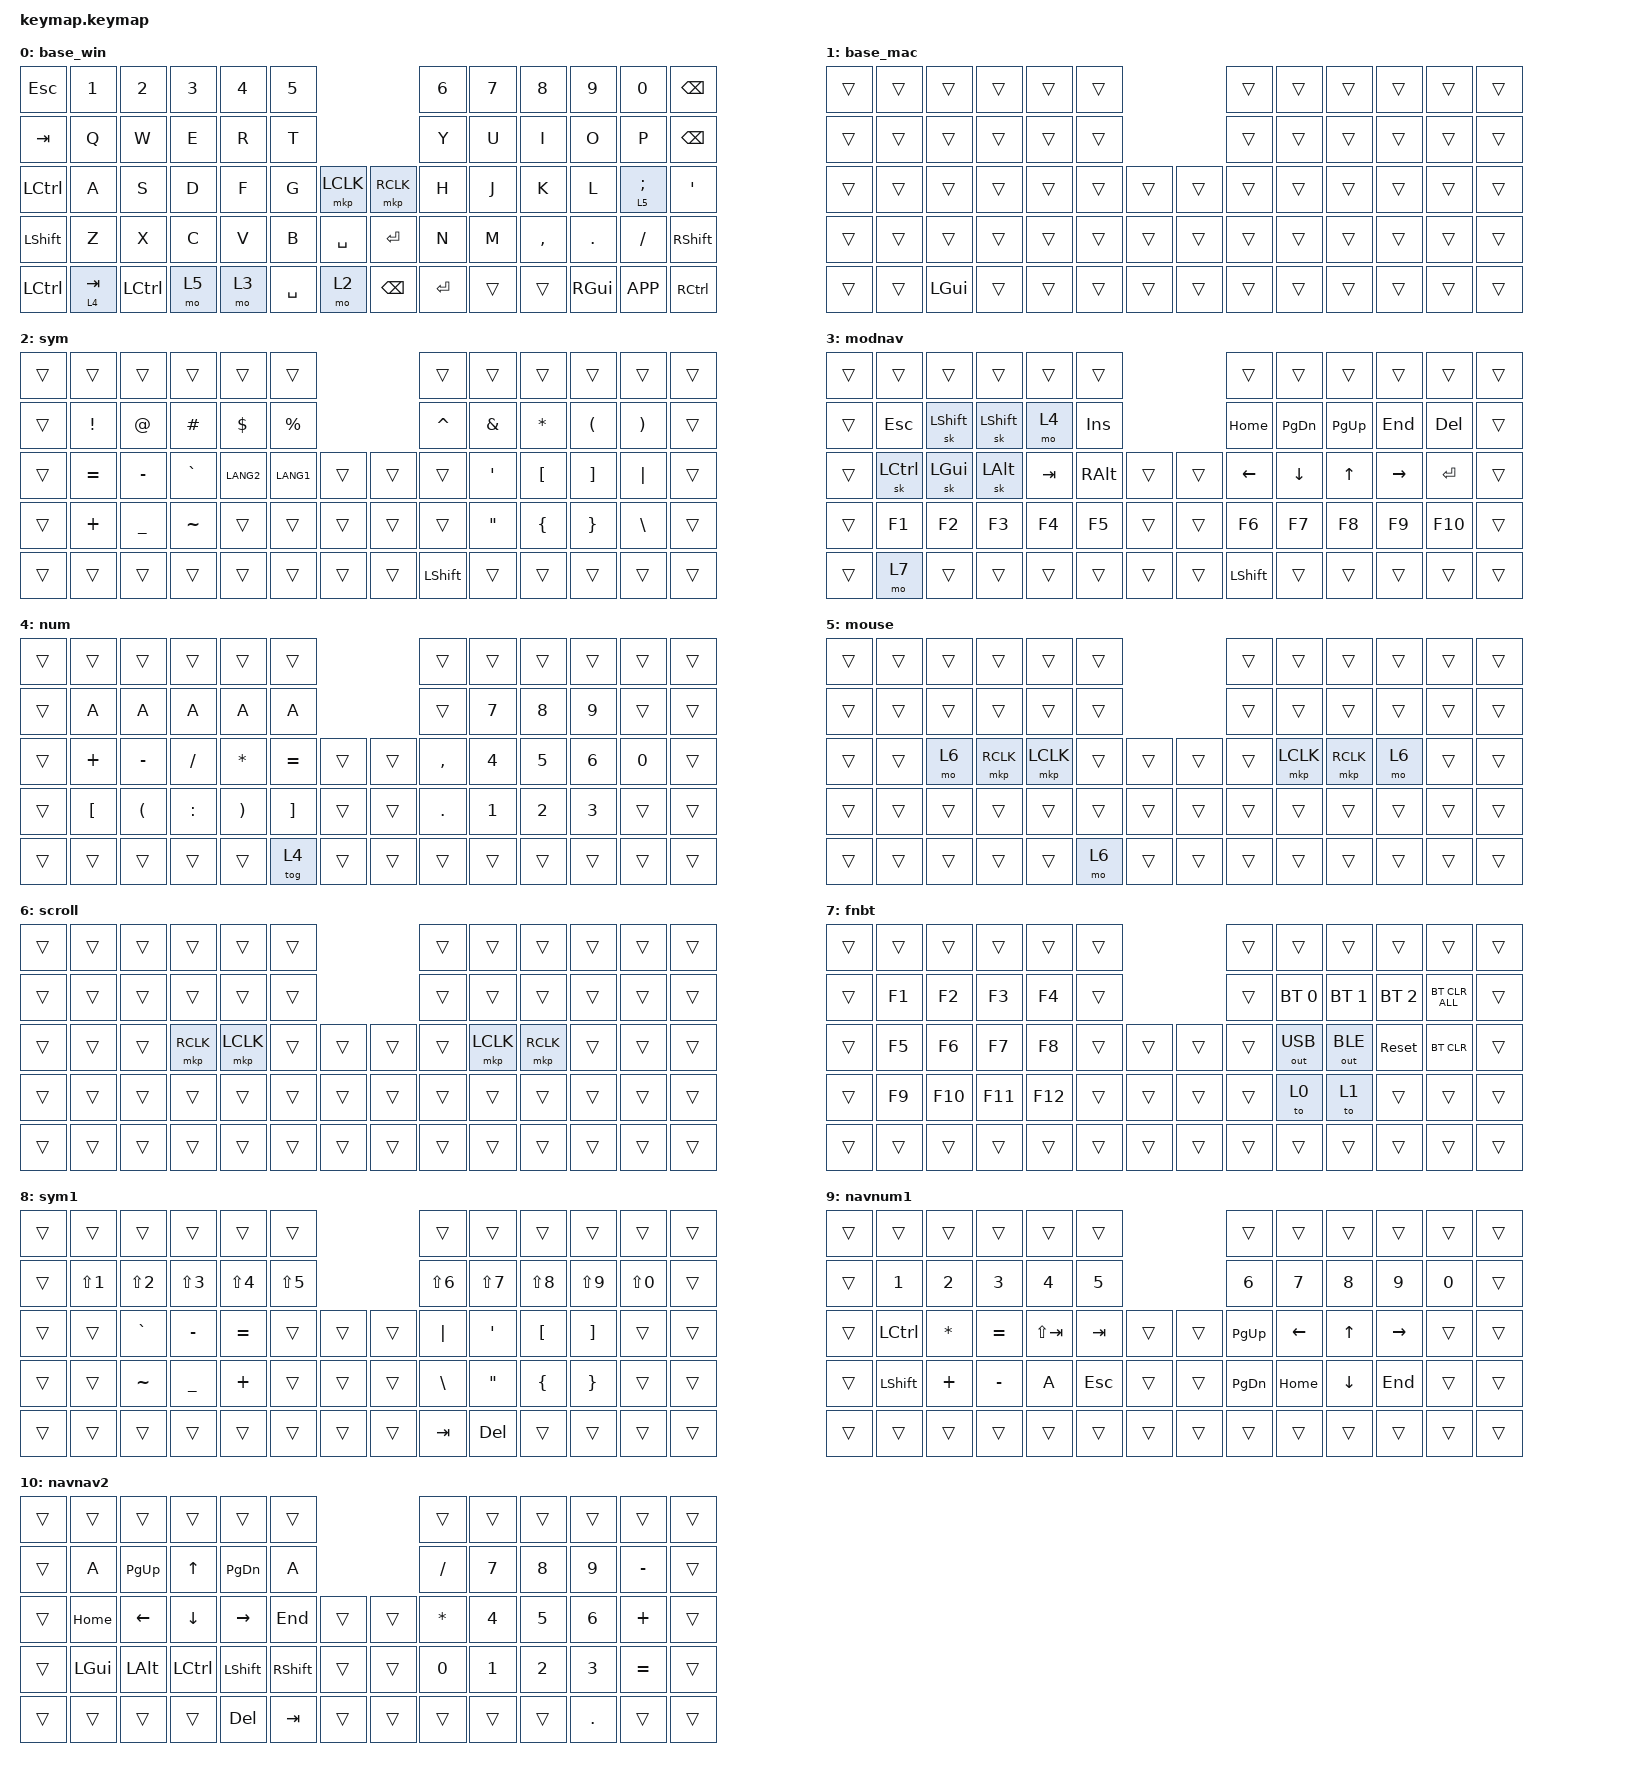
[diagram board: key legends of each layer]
#include <behaviors.dtsi>
#include <dt-bindings/zmk/bt.h>
#include <dt-bindings/zmk/keys.h>
#include <dt-bindings/zmk/outputs.h>
#include <dt-bindings/zmk/pointing.h>

&lt { tapping-term-ms = <200>; };

/ {
    combos {
        compatible = "zmk,combos";

        combo_bt_clear {
            bindings = <&bt BT_CLR>;
            key-positions = <28 29>;
            layers = <8>;
        };

        combo_tab {
            bindings = <&kp TAB>;
            key-positions = <13 14>;
        };
    };

    behaviors {
        lt_thumb: lt_thumb {
            compatible = "zmk,behavior-hold-tap";
            label = "LT_THUMB";
            bindings = <&mo>, <&kp>;

            #binding-cells = <2>;
            tapping-term-ms = <200>;
            quick-tap-ms = <175>;
        };

        hmtl: hmtl {
            compatible = "zmk,behavior-hold-tap";
            label = "HMTL";
            bindings = <&kp>, <&kp>;

            #binding-cells = <2>;
            tapping-term-ms = <280>;
            quick-tap-ms = <175>;
            require-prior-idle-ms = <150>;
            flavor = "balanced";
            hold-trigger-key-positions = <6 7 8 9 10 11 18 19 20 21 22 23 31 32 33 34 35 36 37 45 46 47 48 49 50 51 59 60 61 62 63 64 65>;
            hold-trigger-on-release;
        };

        hmtr: hmtr {
            compatible = "zmk,behavior-hold-tap";
            label = "HMTR";
            bindings = <&kp>, <&kp>;

            #binding-cells = <2>;
            tapping-term-ms = <280>;
            quick-tap-ms = <175>;
            require-prior-idle-ms = <150>;
            flavor = "balanced";
            hold-trigger-key-positions = <0 1 2 3 4 5 12 13 14 15 16 17 24 25 26 27 28 29 30 38 39 40 41 42 43 44 52 53 54 55 56 57 58>;
            hold-trigger-on-release;
        };

        hlt: hlt {
            compatible = "zmk,behavior-hold-tap";
            label = "HLT";
            bindings = <&mo>, <&kp>;

            #binding-cells = <2>;
            tapping-term-ms = <280>;
            quick-tap-ms = <175>;
            require-prior-idle-ms = <280>;
        };
    };

    keymap {
        compatible = "zmk,keymap";

        base_win {
            bindings = <
&kp ESC    &kp N1           &kp N2     &kp N3  &kp N4  &kp N5                           &kp N6   &kp N7  &kp N8     &kp N9    &kp N0       &kp BSPC
&kp TAB    &kp Q            &kp W      &kp E   &kp R   &kp T                            &kp Y    &kp U   &kp I      &kp O     &kp P        &kp BSPC
&kp LCTRL  &kp A            &kp S      &kp D   &kp F   &kp G      &mkp LCLK  &mkp RCLK  &kp H    &kp J   &kp K      &kp L     &hlt 5 SEMI  &kp SQT
&kp LSHFT  &kp Z            &kp X      &kp C   &kp V   &kp B      &kp SPACE  &kp RET    &kp N    &kp M   &kp COMMA  &kp DOT   &kp FSLH     &kp RSHFT
&kp LCTRL  &lt_thumb 4 TAB  &kp LCTRL  &mo 5   &mo 3   &kp SPACE  &mo 2      &kp BSPC   &kp RET  &trans  &trans     &kp RGUI  &kp K_APP    &kp RCTRL
            >;
        };

        base_mac {
            bindings = <
&trans  &trans  &trans    &trans  &trans  &trans                  &trans  &trans  &trans  &trans  &trans  &trans
&trans  &trans  &trans    &trans  &trans  &trans                  &trans  &trans  &trans  &trans  &trans  &trans
&trans  &trans  &trans    &trans  &trans  &trans  &trans  &trans  &trans  &trans  &trans  &trans  &trans  &trans
&trans  &trans  &trans    &trans  &trans  &trans  &trans  &trans  &trans  &trans  &trans  &trans  &trans  &trans
&trans  &trans  &kp LGUI  &trans  &trans  &trans  &trans  &trans  &trans  &trans  &trans  &trans  &trans  &trans
            >;
        };

        sym {
            bindings = <
&trans  &trans     &trans     &trans     &trans      &trans                     &trans     &trans    &trans     &trans    &trans    &trans
&trans  &kp EXCL   &kp AT     &kp HASH   &kp DOLLAR  &kp PRCNT                  &kp CARET  &kp AMPS  &kp ASTRK  &kp LPAR  &kp RPAR  &trans
&trans  &kp EQUAL  &kp MINUS  &kp GRAVE  &kp LANG2   &kp LANG1  &trans  &trans  &trans     &kp SQT   &kp LBKT   &kp RBKT  &kp PIPE  &trans
&trans  &kp PLUS   &kp UNDER  &kp TILDE  &trans      &trans     &trans  &trans  &trans     &kp DQT   &kp LBRC   &kp RBRC  &kp BSLH  &trans
&trans  &trans     &trans     &trans     &trans      &trans     &trans  &trans  &kp LSHFT  &trans    &trans     &trans    &trans    &trans
            >;
        };

        modnav {
            bindings = <
&trans  &trans     &trans     &trans     &trans   &trans                    &trans     &trans     &trans     &trans     &trans   &trans
&trans  &kp ESC    &sk LSHFT  &sk LSHFT  &mo 4    &kp INS                   &kp HOME   &kp PG_DN  &kp PG_UP  &kp END    &kp DEL  &trans
&trans  &sk LCTRL  &sk LGUI   &sk LALT   &kp TAB  &kp RALT  &trans  &trans  &kp LEFT   &kp DOWN   &kp UP     &kp RIGHT  &kp RET  &trans
&trans  &kp F1     &kp F2     &kp F3     &kp F4   &kp F5    &trans  &trans  &kp F6     &kp F7     &kp F8     &kp F9     &kp F10  &trans
&trans  &mo 7      &trans     &trans     &trans   &trans    &trans  &trans  &kp LSHFT  &trans     &trans     &trans     &trans   &trans
            >;
        };

        num {
            bindings = <
&trans  &trans    &trans     &trans     &trans     &trans                     &trans     &trans  &trans  &trans  &trans  &trans
&trans  &kp A     &kp A      &kp A      &kp A      &kp A                      &trans     &kp N7  &kp N8  &kp N9  &trans  &trans
&trans  &kp PLUS  &kp MINUS  &kp FSLH   &kp ASTRK  &kp EQUAL  &trans  &trans  &kp COMMA  &kp N4  &kp N5  &kp N6  &kp N0  &trans
&trans  &kp LBKT  &kp LPAR   &kp COLON  &kp RPAR   &kp RBKT   &trans  &trans  &kp DOT    &kp N1  &kp N2  &kp N3  &trans  &trans
&trans  &trans    &trans     &trans     &trans     &tog 4     &trans  &trans  &trans     &trans  &trans  &trans  &trans  &trans
            >;
        };

        mouse {
            bindings = <
&trans  &trans  &trans  &trans     &trans     &trans                  &trans  &trans     &trans     &trans  &trans  &trans
&trans  &trans  &trans  &trans     &trans     &trans                  &trans  &trans     &trans     &trans  &trans  &trans
&trans  &trans  &mo 6   &mkp RCLK  &mkp LCLK  &trans  &trans  &trans  &trans  &mkp LCLK  &mkp RCLK  &mo 6   &trans  &trans
&trans  &trans  &trans  &trans     &trans     &trans  &trans  &trans  &trans  &trans     &trans     &trans  &trans  &trans
&trans  &trans  &trans  &trans     &trans     &mo 6   &trans  &trans  &trans  &trans     &trans     &trans  &trans  &trans
            >;
        };

        scroll {
            bindings = <
&trans  &trans  &trans  &trans     &trans     &trans                  &trans  &trans     &trans     &trans  &trans  &trans
&trans  &trans  &trans  &trans     &trans     &trans                  &trans  &trans     &trans     &trans  &trans  &trans
&trans  &trans  &trans  &mkp RCLK  &mkp LCLK  &trans  &trans  &trans  &trans  &mkp LCLK  &mkp RCLK  &trans  &trans  &trans
&trans  &trans  &trans  &trans     &trans     &trans  &trans  &trans  &trans  &trans     &trans     &trans  &trans  &trans
&trans  &trans  &trans  &trans     &trans     &trans  &trans  &trans  &trans  &trans     &trans     &trans  &trans  &trans
            >;
        };

        fnbt {
            bindings = <
&trans  &trans  &trans   &trans   &trans   &trans                  &trans  &trans        &trans        &trans        &trans          &trans
&trans  &kp F1  &kp F2   &kp F3   &kp F4   &trans                  &trans  &bt BT_SEL 0  &bt BT_SEL 1  &bt BT_SEL 2  &bt BT_CLR_ALL  &trans
&trans  &kp F5  &kp F6   &kp F7   &kp F8   &trans  &trans  &trans  &trans  &out OUT_USB  &out OUT_BLE  &sys_reset    &bt BT_CLR      &trans
&trans  &kp F9  &kp F10  &kp F11  &kp F12  &trans  &trans  &trans  &trans  &to 0         &to 1         &trans        &trans          &trans
&trans  &trans  &trans   &trans   &trans   &trans  &trans  &trans  &trans  &trans        &trans        &trans        &trans          &trans
            >;
        };

        sym1 {
            bindings = <
&trans  &trans      &trans      &trans      &trans      &trans                      &trans      &trans      &trans      &trans      &trans      &trans
&trans  &kp LS(N1)  &kp LS(N2)  &kp LS(N3)  &kp LS(N4)  &kp LS(N5)                  &kp LS(N6)  &kp LS(N7)  &kp LS(N8)  &kp LS(N9)  &kp LS(N0)  &trans
&trans  &trans      &kp GRAVE   &kp MINUS   &kp EQUAL   &trans      &trans  &trans  &kp PIPE    &kp SQT     &kp LBKT    &kp RBKT    &trans      &trans
&trans  &trans      &kp TILDE   &kp UNDER   &kp PLUS    &trans      &trans  &trans  &kp BSLH    &kp DQT     &kp LBRC    &kp RBRC    &trans      &trans
&trans  &trans      &trans      &trans      &trans      &trans      &trans  &trans  &kp TAB     &kp DEL     &trans      &trans      &trans      &trans
            >;
        };

        navnum1 {
            bindings = <
&trans  &trans     &trans     &trans     &trans       &trans                   &trans     &trans    &trans    &trans     &trans  &trans
&trans  &kp N1     &kp N2     &kp N3     &kp N4       &kp N5                   &kp N6     &kp N7    &kp N8    &kp N9     &kp N0  &trans
&trans  &kp LCTRL  &kp ASTRK  &kp EQUAL  &kp LS(TAB)  &kp TAB  &trans  &trans  &kp PG_UP  &kp LEFT  &kp UP    &kp RIGHT  &trans  &trans
&trans  &kp LSHFT  &kp PLUS   &kp MINUS  &kp A        &kp ESC  &trans  &trans  &kp PG_DN  &kp HOME  &kp DOWN  &kp END    &trans  &trans
&trans  &trans     &trans     &trans     &trans       &trans   &trans  &trans  &trans     &trans    &trans    &trans     &trans  &trans
            >;
        };

        navnav2 {
            bindings = <
&trans  &trans    &trans     &trans     &trans      &trans                     &trans     &trans  &trans  &trans   &trans     &trans
&trans  &kp A     &kp PG_UP  &kp UP     &kp PG_DN   &kp A                      &kp FSLH   &kp N7  &kp N8  &kp N9   &kp MINUS  &trans
&trans  &kp HOME  &kp LEFT   &kp DOWN   &kp RIGHT   &kp END    &trans  &trans  &kp ASTRK  &kp N4  &kp N5  &kp N6   &kp PLUS   &trans
&trans  &kp LGUI  &kp LALT   &kp LCTRL  &kp LSHFT   &kp RSHFT  &trans  &trans  &kp N0     &kp N1  &kp N2  &kp N3   &kp EQUAL  &trans
&trans  &trans    &trans     &trans     &kp DELETE  &kp TAB    &trans  &trans  &trans     &trans  &trans  &kp DOT  &trans     &trans
            >;
        };
    };
};
